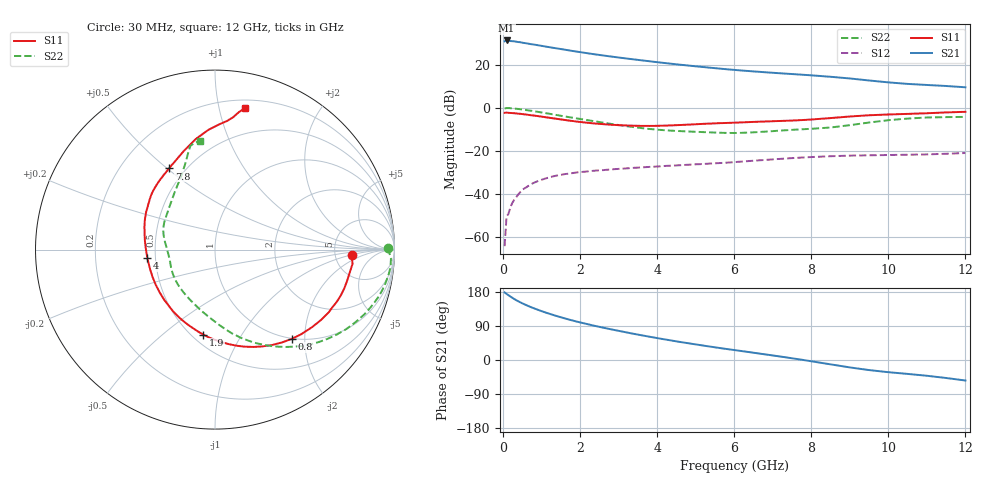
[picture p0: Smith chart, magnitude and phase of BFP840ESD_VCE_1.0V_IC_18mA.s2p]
! Infineon Technologies  Discrete & RF Semiconductors
! BFP840ESD
! VCE =  1.0 V,  IC =  18 mA
! Common Emitter S-Parameters:  May 2012
# GHz  S  MA  R  50
!  f  S11  S21  S12  S22
! GHz  MAG  ANG  MAG  ANG  MAG  ANG  MAG  ANG
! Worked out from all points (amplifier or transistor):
!   93 points, 30 MHz to 12 GHz, reference 50 ohm
!   highest |S21| = 31.3 dB at 80 MHz (marker M1)
!   |S21| within 3 dB of that: start of sweep to 1.15 GHz
!   unconditionally stable (mu >= 1): 4.814 GHz to 9.578 GHz
!   at 1.1 GHz: K = 0.38, MSG = 30.7 dB, |S12| = -32.9 dB
!   at 4.2 GHz: K = 0.94, MSG = 23.9 dB, |S12| = -27.1 dB
!   at 12 GHz: K = 0.78, MSG = 15.3 dB, |S12| = -21.1 dB
!   S11 on the Smith chart (normalised r, x): 30 MHz: 7.21, -1.09; 800 MHz: 1.00, -1.74; 1.9 GHz: 0.57, -0.70; 4 GHz: 0.45, -0.05; 7.8 GHz: 0.41, +0.51; 12 GHz: 0.27, +1.20
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0.03  0.7614 -2.4  35.2 178.3  0.0006 79.2  0.9633 0.5
0.08  0.7705 -5.9  36.82 174.5  0.0029 82.3  0.9816 -2.9
0.13  0.761 -9.9  35.82 171.0  0.0034 77.1  0.9827 -5.8
0.28  0.7463 -19.9  35.17 161.0  0.0072 80.9  0.9594 -13.5
0.43  0.7234 -29.0  33.58 152.6  0.0107 73.7  0.9249 -20.3
0.6  0.6921 -38.7  31.58 144.5  0.0142 68.8  0.8807 -27.4
0.8  0.6569 -49.1  29.47 136.1  0.0181 63.8  0.828 -34.8
1  0.6195 -59.1  27.47 128.6  0.0212 58.5  0.7744 -41.7
1.3  0.5662 -72.8  24.76 118.6  0.0254 52.4  0.6967 -50.9
1.6  0.5185 -85.4  22.43 109.6  0.0286 47.8  0.6265 -59.2
1.9  0.4776 -97.9  20.29 101.5  0.0312 43.9  0.5658 -66.7
2.1  0.4545 -105.7  19.05 96.6  0.0324 42.1  0.5291 -71.3
2.5  0.4214 -120.9  16.9 87.3  0.0349 38.3  0.4638 -80.2
2.9  0.398 -135.4  15.13 78.8  0.0373 36.0  0.4067 -89.1
4  0.3799 -172.9  11.48 57.7  0.0429 31.2  0.3087 -118.2
4.1  0.3813 -176.1  11.22 55.9  0.0434 30.8  0.3038 -121.1
5.1  0.4176 159.9  9.02 39.5  0.0486 27.2  0.2732 -147.6
6.1  0.4526 144.5  7.467 24.8  0.0552 24.5  0.2599 -171.8
7.8  0.5192 119.5  5.838 -0.1  0.0698 14.5  0.3166 154.3
8.5  0.5752 107.7  5.254 -11.5  0.0744 8.9  0.3471 137.3
10.5  0.7194 84.7  3.589 -36.7  0.0806 -5.5  0.5593 105.5
12  0.8047 78.1  2.994 -54.1  0.0884 -12.6  0.6121 97.8
